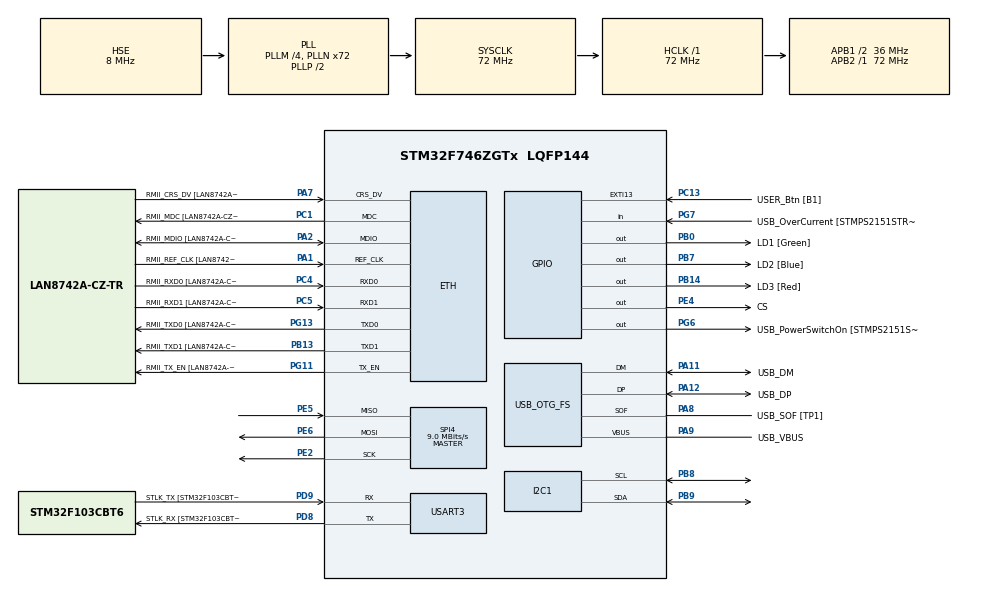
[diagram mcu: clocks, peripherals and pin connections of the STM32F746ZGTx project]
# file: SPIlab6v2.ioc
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ETH.MediaInterface=HAL_ETH_RMII_MODE
ETH.PHY_Name=LAN8742A_PHY_ADDRESS
ETH.PHY_Value=0
ETH.PhyAddress=0
I2C1.I2C_Rise_Time=0
I2C1.Timing=0x00808CD2
Mcu.Family=STM32F7
Mcu.Name=STM32F746ZGTx
Mcu.Package=LQFP144
NVIC.PriorityGroup=NVIC_PRIORITYGROUP_4
NVIC.SPI4_IRQn=true\:0\:0\:false\:false\:true\:true\:true\:true
PA1.GPIO_Label=RMII_REF_CLK [LAN8742A-CZ-TR_REFCLK0]
PA1.Mode=RMII
PA1.Signal=ETH_REF_CLK
PA10.GPIO_Label=USB_ID
PA10.Signal=USB_OTG_FS_ID
PA11.GPIO_Label=USB_DM
PA11.Mode=Device_Only
PA11.Signal=USB_OTG_FS_DM
PA12.GPIO_Label=USB_DP
PA12.Mode=Device_Only
PA12.Signal=USB_OTG_FS_DP
PA13.GPIO_Label=TMS
PA13.Mode=Serial_Wire
PA13.Signal=SYS_JTMS-SWDIO
PA14.GPIO_Label=TCK
PA14.Mode=Serial_Wire
PA14.Signal=SYS_JTCK-SWCLK
PA2.GPIO_Label=RMII_MDIO [LAN8742A-CZ-TR_MDIO]
PA2.Mode=RMII
PA2.Signal=ETH_MDIO
PA7.GPIO_Label=RMII_CRS_DV [LAN8742A-CZ-TR_CRS_DV]
PA7.Mode=RMII
PA7.Signal=ETH_CRS_DV
PA8.GPIO_Label=USB_SOF [TP1]
PA8.Mode=Activate_SOF_FS
PA8.Signal=USB_OTG_FS_SOF
PA9.GPIO_Label=USB_VBUS
PA9.Mode=Activate_VBUS
PA9.Signal=USB_OTG_FS_VBUS
PB0.GPIO_Label=LD1 [Green]
PB0.Signal=GPIO_Output
PB13.GPIO_Label=RMII_TXD1 [LAN8742A-CZ-TR_TXD1]
PB13.Mode=RMII
PB13.Signal=ETH_TXD1
PB14.GPIO_Label=LD3 [Red]
PB14.Signal=GPIO_Output
PB3.GPIO_Label=SW0
PB3.Signal=SYS_JTDO-SWO
PB7.GPIO_Label=LD2 [Blue]
PB7.Signal=GPIO_Output
PB8.Mode=I2C
PB8.Signal=I2C1_SCL
PB9.Mode=I2C
PB9.Signal=I2C1_SDA
PC1.GPIO_Label=RMII_MDC [LAN8742A-CZ-TR_MDC]
PC1.Mode=RMII
PC1.Signal=ETH_MDC
PC13.GPIO_Label=USER_Btn [B1]
PC13.Signal=GPXTI13
PC14/OSC32_IN.Mode=LSE-External-Oscillator
PC14/OSC32_IN.Signal=RCC_OSC32_IN
PC15/OSC32_OUT.Mode=LSE-External-Oscillator
PC15/OSC32_OUT.Signal=RCC_OSC32_OUT
PC4.GPIO_Label=RMII_RXD0 [LAN8742A-CZ-TR_RXD0]
PC4.Mode=RMII
PC4.Signal=ETH_RXD0
PC5.GPIO_Label=RMII_RXD1 [LAN8742A-CZ-TR_RXD1]
PC5.Mode=RMII
PC5.Signal=ETH_RXD1
PD8.GPIO_Label=STLK_RX [STM32F103CBT6_PA3]
PD8.GPIO_PuPd=GPIO_PULLUP
PD8.Mode=Asynchronous
PD8.Signal=USART3_TX
PD9.GPIO_Label=STLK_TX [STM32F103CBT6_PA2]
PD9.GPIO_PuPd=GPIO_PULLUP
PD9.Mode=Asynchronous
PD9.Signal=USART3_RX
PE2.Mode=Full_Duplex_Master
PE2.Signal=SPI4_SCK
PE4.GPIO_Label=CS
PE4.Signal=GPIO_Output
PE5.Mode=Full_Duplex_Master
PE5.Signal=SPI4_MISO
PE6.Mode=Full_Duplex_Master
PE6.Signal=SPI4_MOSI
PG11.GPIO_Label=RMII_TX_EN [LAN8742A-CZ-TR_TXEN]
PG11.Mode=RMII
PG11.Signal=ETH_TX_EN
PG13.GPIO_Label=RMII_TXD0 [LAN8742A-CZ-TR_TXD0]
PG13.Mode=RMII
PG13.Signal=ETH_TXD0
PG6.GPIO_Label=USB_PowerSwitchOn [STMPS2151STR_EN]
PG6.Signal=GPIO_Output
PG7.GPIO_Label=USB_OverCurrent [STMPS2151STR_FAULT]
PG7.Signal=GPIO_Input
PH0/OSC_IN.GPIO_Label=MCO [STM32F103CBT6_PA8]
PH0/OSC_IN.Mode=HSE-External-Clock-Source
PH0/OSC_IN.Signal=RCC_OSC_IN
PH1/OSC_OUT.Mode=HSE-External-Clock-Source
PH1/OSC_OUT.Signal=RCC_OSC_OUT
ProjectManager.HeapSize=0x200
ProjectManager.StackSize=0x400
ProjectManager.TargetToolchain=STM32CubeIDE
RCC.48MHZClocksFreq_Value=24000000
RCC.AHBFreq_Value=72000000
RCC.APB1CLKDivider=RCC_HCLK_DIV2
RCC.APB1Freq_Value=36000000
RCC.APB1TimFreq_Value=72000000
RCC.APB2Freq_Value=72000000
RCC.APB2TimFreq_Value=72000000
RCC.CortexFreq_Value=72000000
RCC.HCLKFreq_Value=72000000
RCC.HSE_VALUE=8000000
RCC.HSI_VALUE=16000000
RCC.PLLM=4
RCC.PLLMUL=RCC_PLL_MUL9
RCC.PLLN=72
RCC.PLLQ=3
RCC.PRESCALERUSB=RCC_USBCLKSOURCE_PLL_DIV1_5
RCC.SYSCLKFreq_VALUE=72000000
RCC.SYSCLKSource=RCC_SYSCLKSOURCE_PLLCLK
RCC.SYSCLKSourceVirtual=RCC_SYSCLKSOURCE_PLLCLK
RCC.USBFreq_Value=48000000
RCC.VCOOutputFreq_Value=144000000
SPI4.BaudRatePrescaler=SPI_BAUDRATEPRESCALER_8
SPI4.CLKPhase=SPI_PHASE_2EDGE
SPI4.CLKPolarity=SPI_POLARITY_HIGH
SPI4.CalculateBaudRate=9.0 MBits/s
SPI4.DataSize=SPI_DATASIZE_8BIT
SPI4.Direction=SPI_DIRECTION_2LINES
SPI4.Mode=SPI_MODE_MASTER
SPI4.VirtualType=VM_MASTER
USART3.VirtualMode-Asynchronous=VM_ASYNC
USB_OTG_FS.VirtualMode=Device_Only
board=NUCLEO-F746ZG

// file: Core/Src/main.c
/* USER CODE BEGIN Header */
/**
  ******************************************************************************
  * @file           : main.c
  * @brief          : Main program body
  ******************************************************************************
  * @attention
  *
  * Copyright (c) 2025 STMicroelectronics.
  * All rights reserved.
  *
  * This software is licensed under terms that can be found in the LICENSE file
  * in the root directory of this software component.
  * If no LICENSE file comes with this software, it is provided AS-IS.
  *
  ******************************************************************************
  */
/* USER CODE END Header */
#include "main.h"
#include "eth.h"
#include "i2c.h"
#include "spi.h"
#include "usart.h"
#include "usb_otg.h"
#include "gpio.h"

/* USER CODE BEGIN Includes */
#include <stdio.h>
#include <string.h>
/* USER CODE END Includes */

/* USER CODE BEGIN PV */
char buffer[150];
char spibuffer[20];
float TEMPERATURA = 0.0f;
float cisnienie = 0.0f;

int32_t temp_int = 0;
    int32_t press_hpa = 0;

//bity wewnątrz czujnika
uint8_t msb = 0;
uint8_t lsb = 0;
uint8_t xlsb = 0;

uint16_t dig_T1 =0;//dane kalibracyjne
uint16_t dig_T2 =0;//same
uint16_t dig_T3 =0;//same

uint16_t dig_P1;
int16_t dig_P2, dig_P3, dig_P4, dig_P5, dig_P6, dig_P7, dig_P8, dig_P9;

int32_t TempBezSkalowania =0;

int32_t t_fine =0;

/* USER CODE END PV */

void SystemClock_Config(void);
/* USER CODE BEGIN PFP */

void BMP_Write_Register(uint8_t reg_addr, uint8_t value) {
    uint8_t data[2];
    data[0] = reg_addr & 0x7F;  // Bit 7 = 0 dla zapisu
    data[1] = value;

    HAL_GPIO_WritePin(CS_GPIO_Port, CS_Pin, GPIO_PIN_RESET);
    HAL_SPI_Transmit(&hspi4, data, 2, HAL_MAX_DELAY);
    HAL_GPIO_WritePin(CS_GPIO_Port, CS_Pin, GPIO_PIN_SET);
}

void HUART_Transmitmessage(char *msg){
	HAL_UART_Transmit(&huart3, (uint8_t *)msg, strlen(msg), HAL_MAX_DELAY);
}

void BMP280_init(){
    uint8_t reg = 0xD0 | 0x80;
    uint8_t id = 0;
    HAL_GPIO_WritePin(CS_GPIO_Port, CS_Pin, GPIO_PIN_RESET);
    HAL_SPI_Transmit(&hspi4, &reg, 1, HAL_MAX_DELAY);
    HAL_SPI_Receive(&hspi4, &id, 1, HAL_MAX_DELAY);
    HAL_GPIO_WritePin(CS_GPIO_Port, CS_Pin, GPIO_PIN_SET);

    if (id == 0x58) {
        HUART_Transmitmessage("BMP280 OK\r\n");

        // Konfiguracja czujnika
        // Rejestr 0xF4: os_over_t=1, os_over_p=1, mode=1 (forced mode)
        BMP_Write_Register(0xF4, 0x25);  // Temp oversampling x1, Pressure oversampling x1, Forced mode
        HAL_Delay(100);  // Poczekaj na pomiar

    } else {
        sprintf(buffer, "ERROR BMP280 read id=%u\r\n", id);
        HUART_Transmitmessage(buffer);
    }
}

uint8_t BMP_Readyte(uint8_t rejestr){
	uint8_t val = 0;
	uint8_t reg = 0xD0;//tutaj podajesz adres swojego regulatora który Ci wypluł przez uart przy inicie
	rejestr |= 0x80; //zeby 7 bajt byl 1 czyli wiadomosc do odczytania
	HAL_GPIO_WritePin(CS_GPIO_Port, CS_Pin, GPIO_PIN_RESET);//odpala czujnik
	HAL_SPI_Transmit(&hspi4, &rejestr, 1, HAL_MAX_DELAY);
	HAL_SPI_Receive(&hspi4, &val, 1, HAL_MAX_DELAY);
	HAL_GPIO_WritePin(CS_GPIO_Port, CS_Pin, GPIO_PIN_SET);//wyłącza czujnik
	return val;
}

int32_t SPI_Odbierz_Temp(){
    // Upewnij się, że czujnik wykonał pomiar
    HAL_Delay(10);

    msb = BMP_Readyte(0xFA);
    lsb = BMP_Readyte(0xFB);
    xlsb = BMP_Readyte(0xFC);

    sprintf(buffer, "MSB=%u, LSB=%u, XLSB=%u\r\n", msb, lsb, xlsb);
    HUART_Transmitmessage(buffer);

    int32_t raw = ((uint32_t)msb << 12) | ((uint32_t)lsb << 4) | (xlsb >> 4);
    sprintf(buffer, "Raw calculated: %ld\r\n", raw);
    HUART_Transmitmessage(buffer);

    return raw;
}

void BMP280_Calibrate (){
    dig_T1 = BMP_Readyte(0x88) | ((uint16_t)BMP_Readyte(0x89) << 8);
    dig_T2 = (int16_t)(BMP_Readyte(0x8A) | ((uint16_t)BMP_Readyte(0x8B) << 8));
    dig_T3 = (int16_t)(BMP_Readyte(0x8C) | ((uint16_t)BMP_Readyte(0x8D) << 8));
}

float BMP280_Calctemp(int32_t adc_T) {
    int64_t var1, var2;
    int32_t temperature;

    // Rzutowanie danych kalibracyjnych
    int32_t dig_T2_signed = (int16_t)dig_T2;
    int32_t dig_T3_signed = (int16_t)dig_T3;

    // Obliczenia z większą precyzją
    var1 = (((int64_t)adc_T) >> 3) - ((int64_t)dig_T1 << 1);
    var1 = (var1 * dig_T2_signed) >> 11;

    var2 = (((int64_t)adc_T) >> 4) - (int64_t)dig_T1;
    var2 = (var2 * var2) >> 12;
    var2 = (var2 * dig_T3_signed) >> 14;

    t_fine = var1 + var2;

    // Obliczenie temperatury
    temperature = (t_fine * 5 + 128) >> 8;

    // Konwersja do float
    return ((float)temperature) / 100.0f;
}

//void zad2(){
//	BMP280_Calibrate();
//	TEMPERATURA = BMP280_Calctemp(SPI_Odbierz_Temp());
//	sprintf(buffer, "Temperatura to: %.2f", TEMPERATURA);
//	HUART_Transmitmessage(buffer);
//	HAL_Delay(500);
//}

//void zad2(){
//    BMP280_Calibrate();
//
//    // Debugowanie danych kalibracyjnych
//    sprintf(buffer, "dig_T1=%u, dig_T2=%d, dig_T3=%d\r\n", dig_T1, dig_T2, dig_T3);
//    HUART_Transmitmessage(buffer);
//
//    int32_t raw_temp = SPI_Odbierz_Temp();
//    sprintf(buffer, "Raw temp: %ld\r\n", raw_temp);
//    HUART_Transmitmessage(buffer);
//
//    TEMPERATURA = BMP280_Calctemp(raw_temp);
//    sprintf(buffer, "Temperatura to: %.2f\r\n", TEMPERATURA);
//    HUART_Transmitmessage(buffer);
//    HAL_Delay(1000);
//}

void zad2(){
    char temp_buffer[100];

    BMP280_Calibrate();
    int32_t raw_temp = SPI_Odbierz_Temp();

    float temperatura = BMP280_Calctemp(raw_temp);

    // Sprawdź czy wynik jest poprawny
    if (temperatura != temperatura) {  // Sprawdza NaN
        sprintf(temp_buffer, "Temperatura: NaN\r\n");
    } else if (temperatura > -50.0f && temperatura < 100.0f) {
        sprintf(temp_buffer, "Temperatura to: %.2f\r\n", temperatura);
    } else {
        sprintf(temp_buffer, "Temperatura out of range: %.2f\r\n", temperatura);
    }

    HUART_Transmitmessage(temp_buffer);
    HAL_Delay(1000);
}

int32_t SPI_Odbierz_Press() {
    HAL_Delay(10); // upewnij się, że pomiar zakończony

    uint8_t msb = BMP_Readyte(0xF7);
    uint8_t lsb = BMP_Readyte(0xF8);
    uint8_t xlsb = BMP_Readyte(0xF9);

    sprintf(buffer, "P_MSB=%u, P_LSB=%u, P_XLSB=%u\r\n", msb, lsb, xlsb);
    HUART_Transmitmessage(buffer);

    int32_t raw = ((uint32_t)msb << 12) |
                  ((uint32_t)lsb << 4)  |
                  (xlsb >> 4);

    sprintf(buffer, "Raw pressure: %ld\r\n", raw);
    HUART_Transmitmessage(buffer);

    return raw;
}

void BMP280_Calibrate_Press() {
    dig_P1 =  (uint16_t)(BMP_Readyte(0x8E) | ((uint16_t)BMP_Readyte(0x8F) << 8));
    dig_P2 =  (int16_t)(BMP_Readyte(0x90) | ((uint16_t)BMP_Readyte(0x91) << 8));
    dig_P3 =  (int16_t)(BMP_Readyte(0x92) | ((uint16_t)BMP_Readyte(0x93) << 8));
    dig_P4 =  (int16_t)(BMP_Readyte(0x94) | ((uint16_t)BMP_Readyte(0x95) << 8));
    dig_P5 =  (int16_t)(BMP_Readyte(0x96) | ((uint16_t)BMP_Readyte(0x97) << 8));
    dig_P6 =  (int16_t)(BMP_Readyte(0x98) | ((uint16_t)BMP_Readyte(0x99) << 8));
    dig_P7 =  (int16_t)(BMP_Readyte(0x9A) | ((uint16_t)BMP_Readyte(0x9B) << 8));
    dig_P8 =  (int16_t)(BMP_Readyte(0x9C) | ((uint16_t)BMP_Readyte(0x9D) << 8));
    dig_P9 =  (int16_t)(BMP_Readyte(0x9E) | ((uint16_t)BMP_Readyte(0x9F) << 8));
}

float BMP280_CalcPress(int32_t adc_P)
{
    int64_t var1, var2, p;

    var1 = ((int64_t)t_fine) - 128000;
    var2 = var1 * var1 * (int64_t)dig_P6;
    var2 = var2 + ((var1 * (int64_t)dig_P5) << 17);
    var2 = var2 + (((int64_t)dig_P4) << 35);
    var1 = ((var1 * var1 * (int64_t)dig_P3) >> 8) +
           ((var1 * (int64_t)dig_P2) << 12);
    var1 = (((((int64_t)1) << 47) + var1)) * ((int64_t)dig_P1) >> 33;

    if (var1 == 0)
        return 0; // dzielenie przez zero = błąd

    p = 1048576 - adc_P;
    p = (((p << 31) - var2) * 3125) / var1;

    var1 = (((int64_t)dig_P9) * (p >> 13) * (p >> 13)) >> 25;
    var2 = (((int64_t)dig_P8) * p) >> 19;

    p = ((p + var1 + var2) >> 8) + ((int64_t)dig_P7 << 4);

    return p / 256.0f;  // wynik w Pascalach
}

//float zad4() {
//    char msg[100];
//
//    BMP280_Calibrate();       // dla temp → generuje t_fine
//    BMP280_Calibrate_Press(); // dla ciśnienia
//
//    int32_t raw_temp = SPI_Odbierz_Temp();
//    float temp = BMP280_Calctemp(raw_temp);
//
//    int32_t raw_press = SPI_Odbierz_Press();
//    float press = BMP280_CalcPress(raw_press);
//
//    sprintf(msg, "Temp=%.2f C, Pressure=%.2f Pa\r\n", temp, press);
//    HUART_Transmitmessage(msg);
//
//    HAL_Delay(1000);
//    return press;
//}

int zad4() {
    BMP280_Calibrate();
    BMP280_Calibrate_Press();

    int32_t raw_temp = SPI_Odbierz_Temp();
    float temperatura = BMP280_Calctemp(raw_temp);

    int32_t raw_press = SPI_Odbierz_Press();
    float cisnienie = BMP280_CalcPress(raw_press);

    // --- KONWERSJA DO INTÓW ---
 temp_int = (int32_t)(temperatura * 100 * 1000);   // °C ×100 mC * 1000*C
 press_hpa = (int32_t)(cisnienie * 0.01f);  // Pa → hPa

    sprintf(buffer,
        "Temp: %ld.%02ld C, Pressure: %ld hPa\r\n",
        temp_int/100, temp_int%100,
        press_hpa
    );
    HUART_Transmitmessage(buffer);
}

	/* USER CODE END PFP */

int main(void)
{

  /* MCU Configuration--------------------------------------------------------*/

  /* Reset of all peripherals, Initializes the Flash interface and the Systick. */
  HAL_Init();

  /* Configure the system clock */
  SystemClock_Config();

  /* Initialize all configured peripherals */
  MX_GPIO_Init();
  MX_ETH_Init();
  MX_I2C1_Init();
  MX_USART3_UART_Init();
  MX_USB_OTG_FS_PCD_Init();
  MX_SPI4_Init();
  /* USER CODE BEGIN 2 */
BMP280_init();
  /* USER CODE END 2 */

  /* Infinite loop */
  while (1)
  {
//zad2();
zad4();

  }
}

void SystemClock_Config(void)
{
  RCC_OscInitTypeDef RCC_OscInitStruct = {0};
  RCC_ClkInitTypeDef RCC_ClkInitStruct = {0};

  /** Configure LSE Drive Capability
  */
  HAL_PWR_EnableBkUpAccess();

  /** Configure the main internal regulator output voltage
  */
  __HAL_RCC_PWR_CLK_ENABLE();
  __HAL_PWR_VOLTAGESCALING_CONFIG(PWR_REGULATOR_VOLTAGE_SCALE3);

  /** Initializes the RCC Oscillators according to the specified parameters
  * in the RCC_OscInitTypeDef structure.
  */
  RCC_OscInitStruct.OscillatorType = RCC_OSCILLATORTYPE_HSE;
  RCC_OscInitStruct.HSEState = RCC_HSE_BYPASS;
  RCC_OscInitStruct.PLL.PLLState = RCC_PLL_ON;
  RCC_OscInitStruct.PLL.PLLSource = RCC_PLLSOURCE_HSE;
  RCC_OscInitStruct.PLL.PLLM = 4;
  RCC_OscInitStruct.PLL.PLLN = 72;
  RCC_OscInitStruct.PLL.PLLP = RCC_PLLP_DIV2;
  RCC_OscInitStruct.PLL.PLLQ = 3;
  if (HAL_RCC_OscConfig(&RCC_OscInitStruct) != HAL_OK)
  {
    Error_Handler();
  }

  /** Initializes the CPU, AHB and APB buses clocks
  */
  RCC_ClkInitStruct.ClockType = RCC_CLOCKTYPE_HCLK|RCC_CLOCKTYPE_SYSCLK
                              |RCC_CLOCKTYPE_PCLK1|RCC_CLOCKTYPE_PCLK2;
  RCC_ClkInitStruct.SYSCLKSource = RCC_SYSCLKSOURCE_PLLCLK;
  RCC_ClkInitStruct.AHBCLKDivider = RCC_SYSCLK_DIV1;
  RCC_ClkInitStruct.APB1CLKDivider = RCC_HCLK_DIV2;
  RCC_ClkInitStruct.APB2CLKDivider = RCC_HCLK_DIV1;

  if (HAL_RCC_ClockConfig(&RCC_ClkInitStruct, FLASH_LATENCY_2) != HAL_OK)
  {
    Error_Handler();
  }
}

void Error_Handler(void)
{
  __disable_irq();
  while (1)
  {
  }
}
